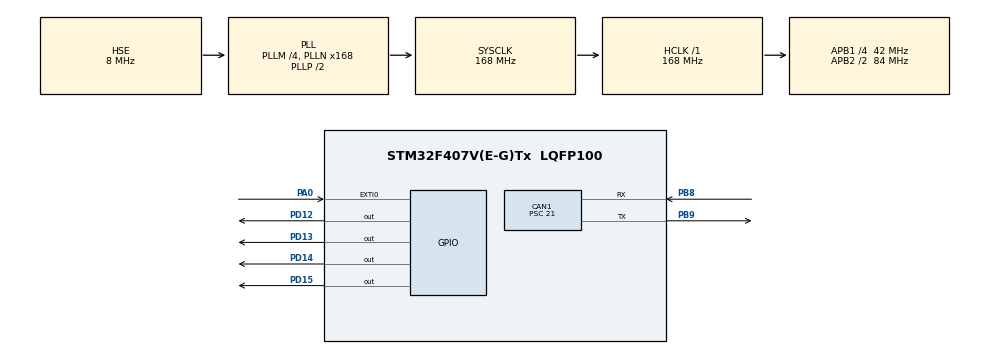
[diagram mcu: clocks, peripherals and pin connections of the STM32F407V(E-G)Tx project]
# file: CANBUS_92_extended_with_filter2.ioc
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CAN1.BS1=CAN_BS1_10TQ
CAN1.BS2=CAN_BS2_5TQ
CAN1.CalculateBaudRate=125000
CAN1.CalculateTimeBit=8000
CAN1.CalculateTimeQuantum=500.0
CAN1.Prescaler=21
Mcu.Family=STM32F4
Mcu.Name=STM32F407V(E-G)Tx
Mcu.Package=LQFP100
NVIC.CAN1_RX0_IRQn=true\:0\:1\:false\:false\:true\:true\:true\:true
NVIC.EXTI0_IRQn=true\:0\:0\:false\:false\:true\:true\:true\:true
NVIC.PriorityGroup=NVIC_PRIORITYGROUP_0
PA0-WKUP.Signal=GPXTI0
PA13.Mode=Serial_Wire
PA13.Signal=SYS_JTMS-SWDIO
PA14.Mode=Serial_Wire
PA14.Signal=SYS_JTCK-SWCLK
PB8.Mode=CAN_Activate
PB8.Signal=CAN1_RX
PB9.Mode=CAN_Activate
PB9.Signal=CAN1_TX
PD12.Signal=GPIO_Output
PD13.Signal=GPIO_Output
PD14.Signal=GPIO_Output
PD15.Signal=GPIO_Output
PH0-OSC_IN.Mode=HSE-External-Oscillator
PH0-OSC_IN.Signal=RCC_OSC_IN
PH1-OSC_OUT.Mode=HSE-External-Oscillator
PH1-OSC_OUT.Signal=RCC_OSC_OUT
ProjectManager.HeapSize=0x200
ProjectManager.StackSize=0x400
ProjectManager.TargetToolchain=STM32CubeIDE
RCC.48MHZClocksFreq_Value=84000000
RCC.AHBFreq_Value=168000000
RCC.APB1CLKDivider=RCC_HCLK_DIV4
RCC.APB1Freq_Value=42000000
RCC.APB1TimFreq_Value=84000000
RCC.APB2CLKDivider=RCC_HCLK_DIV2
RCC.APB2Freq_Value=84000000
RCC.APB2TimFreq_Value=168000000
RCC.CortexFreq_Value=168000000
RCC.HCLKFreq_Value=168000000
RCC.HSE_VALUE=8000000
RCC.HSI_VALUE=16000000
RCC.LSE_VALUE=32768
RCC.PLLM=4
RCC.PLLN=168
RCC.PLLSourceVirtual=RCC_PLLSOURCE_HSE
RCC.SYSCLKFreq_VALUE=168000000
RCC.SYSCLKSource=RCC_SYSCLKSOURCE_PLLCLK
RCC.VCOOutputFreq_Value=336000000
board=custom

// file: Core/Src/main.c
/* USER CODE BEGIN Header */
/**
  ******************************************************************************
  * @file           : main.c
  * @brief          : Main program body
  ******************************************************************************
  * @attention
  *
  * Copyright (c) 2023 STMicroelectronics.
  * All rights reserved.
  *
  * This software is licensed under terms that can be found in the LICENSE file
  * in the root directory of this software component.
  * If no LICENSE file comes with this software, it is provided AS-IS.
  *
  ******************************************************************************
  */
/* USER CODE END Header */
#include "main.h"

CAN_HandleTypeDef hcan1;
CAN_TxHeaderTypeDef pTxHeader;

uint8_t count;
uint32_t pTxMailbox;

CAN_RxHeaderTypeDef pRxHeader;
uint8_t rcount;

CAN_FilterTypeDef sFilterConfig;

void SystemClock_Config(void);
static void MX_GPIO_Init(void);
static void MX_CAN1_Init(void);

int main(void)
{

  /* MCU Configuration--------------------------------------------------------*/

  /* Reset of all peripherals, Initializes the Flash interface and the Systick. */
  HAL_Init();

  /* Configure the system clock */
  SystemClock_Config();

  /* Initialize all configured peripherals */
  MX_GPIO_Init();
  MX_CAN1_Init();
  /* USER CODE BEGIN 2 */

  //start can communication
  HAL_CAN_Start(&hcan1);
  //enable interrupts
  HAL_CAN_ActivateNotification(&hcan1, CAN_IT_RX_FIFO0_MSG_PENDING);

  //set transmit parameters
  pTxHeader.DLC=1;
  pTxHeader.IDE=CAN_ID_EXT;
  pTxHeader.RTR=CAN_RTR_DATA;
  pTxHeader.ExtId=0X1AB04999;  //0X1AB04999   0X1AB05999 yap sırayla
//set filter parameters
sFilterConfig.FilterActivation=ENABLE;
sFilterConfig.FilterBank=0;
sFilterConfig.FilterFIFOAssignment=CAN_FILTER_FIFO0;
sFilterConfig.FilterIdHigh=0x0000;
sFilterConfig.FilterIdLow=0x0000;
sFilterConfig.FilterMaskIdHigh=0x0000;
sFilterConfig.FilterMaskIdLow=0x0000;
sFilterConfig.FilterMode=CAN_FILTERMODE_IDMASK;
sFilterConfig.FilterScale=CAN_FILTERSCALE_32BIT;

HAL_CAN_ConfigFilter(&hcan1, &sFilterConfig);
  /* USER CODE END 2 */

  /* Infinite loop */
while (1)
  {

  }
}

void SystemClock_Config(void)
{
  RCC_OscInitTypeDef RCC_OscInitStruct = {0};
  RCC_ClkInitTypeDef RCC_ClkInitStruct = {0};

  /** Configure the main internal regulator output voltage
  */
  __HAL_RCC_PWR_CLK_ENABLE();
  __HAL_PWR_VOLTAGESCALING_CONFIG(PWR_REGULATOR_VOLTAGE_SCALE1);

  /** Initializes the RCC Oscillators according to the specified parameters
  * in the RCC_OscInitTypeDef structure.
  */
  RCC_OscInitStruct.OscillatorType = RCC_OSCILLATORTYPE_HSE;
  RCC_OscInitStruct.HSEState = RCC_HSE_ON;
  RCC_OscInitStruct.PLL.PLLState = RCC_PLL_ON;
  RCC_OscInitStruct.PLL.PLLSource = RCC_PLLSOURCE_HSE;
  RCC_OscInitStruct.PLL.PLLM = 4;
  RCC_OscInitStruct.PLL.PLLN = 168;
  RCC_OscInitStruct.PLL.PLLP = RCC_PLLP_DIV2;
  RCC_OscInitStruct.PLL.PLLQ = 4;
  if (HAL_RCC_OscConfig(&RCC_OscInitStruct) != HAL_OK)
  {
    Error_Handler();
  }

  /** Initializes the CPU, AHB and APB buses clocks
  */
  RCC_ClkInitStruct.ClockType = RCC_CLOCKTYPE_HCLK|RCC_CLOCKTYPE_SYSCLK
                              |RCC_CLOCKTYPE_PCLK1|RCC_CLOCKTYPE_PCLK2;
  RCC_ClkInitStruct.SYSCLKSource = RCC_SYSCLKSOURCE_PLLCLK;
  RCC_ClkInitStruct.AHBCLKDivider = RCC_SYSCLK_DIV1;
  RCC_ClkInitStruct.APB1CLKDivider = RCC_HCLK_DIV4;
  RCC_ClkInitStruct.APB2CLKDivider = RCC_HCLK_DIV2;

  if (HAL_RCC_ClockConfig(&RCC_ClkInitStruct, FLASH_LATENCY_5) != HAL_OK)
  {
    Error_Handler();
  }
}

static void MX_CAN1_Init(void)
{

  hcan1.Instance = CAN1;
  hcan1.Init.Prescaler = 21;
  hcan1.Init.Mode = CAN_MODE_NORMAL;
  hcan1.Init.SyncJumpWidth = CAN_SJW_1TQ;
  hcan1.Init.TimeSeg1 = CAN_BS1_10TQ;
  hcan1.Init.TimeSeg2 = CAN_BS2_5TQ;
  hcan1.Init.TimeTriggeredMode = DISABLE;
  hcan1.Init.AutoBusOff = DISABLE;
  hcan1.Init.AutoWakeUp = DISABLE;
  hcan1.Init.AutoRetransmission = DISABLE;
  hcan1.Init.ReceiveFifoLocked = DISABLE;
  hcan1.Init.TransmitFifoPriority = DISABLE;
  if (HAL_CAN_Init(&hcan1) != HAL_OK)
  {
    Error_Handler();
  }

}

static void MX_GPIO_Init(void)
{
  GPIO_InitTypeDef GPIO_InitStruct = {0};

  /* GPIO Ports Clock Enable */
  __HAL_RCC_GPIOH_CLK_ENABLE();
  __HAL_RCC_GPIOA_CLK_ENABLE();
  __HAL_RCC_GPIOD_CLK_ENABLE();
  __HAL_RCC_GPIOB_CLK_ENABLE();

  /*Configure GPIO pin Output Level */
  HAL_GPIO_WritePin(GPIOD, GPIO_PIN_12|GPIO_PIN_13|GPIO_PIN_14|GPIO_PIN_15, GPIO_PIN_RESET);

  /*Configure GPIO pin : PA0 */
  GPIO_InitStruct.Pin = GPIO_PIN_0;
  GPIO_InitStruct.Mode = GPIO_MODE_IT_RISING;
  GPIO_InitStruct.Pull = GPIO_NOPULL;
  HAL_GPIO_Init(GPIOA, &GPIO_InitStruct);

  /*Configure GPIO pins : PD12 PD13 PD14 PD15 */
  GPIO_InitStruct.Pin = GPIO_PIN_12|GPIO_PIN_13|GPIO_PIN_14|GPIO_PIN_15;
  GPIO_InitStruct.Mode = GPIO_MODE_OUTPUT_PP;
  GPIO_InitStruct.Pull = GPIO_NOPULL;
  GPIO_InitStruct.Speed = GPIO_SPEED_FREQ_LOW;
  HAL_GPIO_Init(GPIOD, &GPIO_InitStruct);

  /* EXTI interrupt init*/
  HAL_NVIC_SetPriority(EXTI0_IRQn, 0, 0);
  HAL_NVIC_EnableIRQ(EXTI0_IRQn);

}

void Error_Handler(void)
{
  __disable_irq();
  while (1)
  {
  }
}
